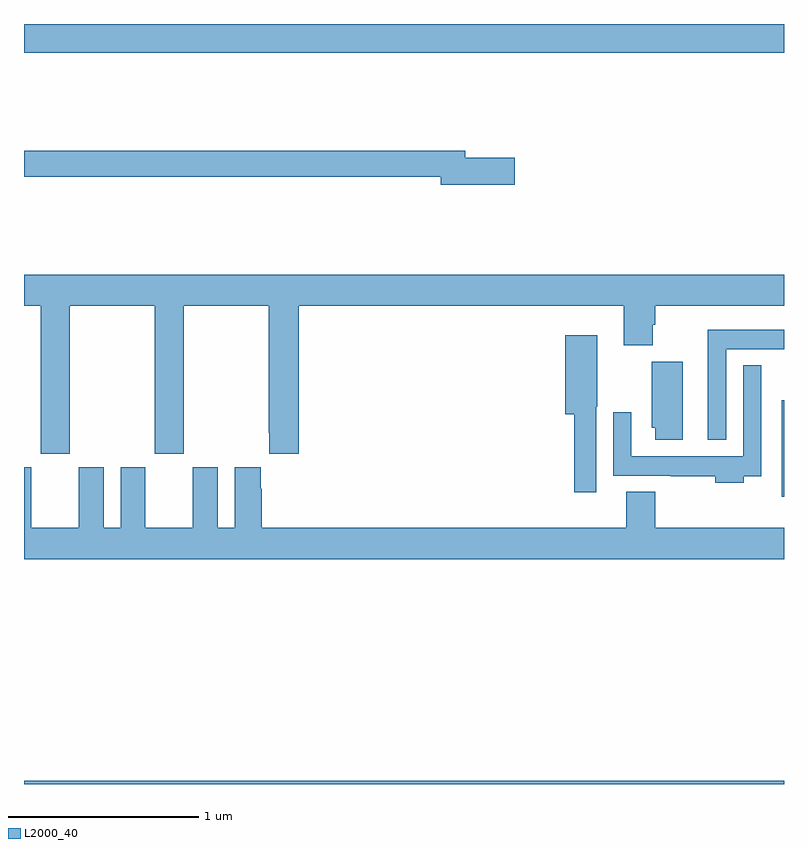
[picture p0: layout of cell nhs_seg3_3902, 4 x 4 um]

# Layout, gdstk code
import gdstk
lib = gdstk.Library(unit=1e-6, precision=1e-09)
def R(c, l, rs):  # rectangles x0, y0, x1, y1
    for r in rs: c.add(gdstk.rectangle(r[:2], r[2:], *l))
def P(c, l, *ps):  # polygons
    for p in ps: c.add(gdstk.Polygon(p, *l))
L2000_40 = (2000, 40)

nhs_seg3_3902 = lib.new_cell('nhs_seg3_3902')
R(nhs_seg3_3902, L2000_40, [(313,698.4,317,698.416), (316.988,699.912,317,700.42), (313,702.248,317,702.4)])
P(nhs_seg3_3902, L2000_40, [(315.583,701.696),(315.322,701.696),(315.322,701.732),(313,701.732),(313,701.596),(315.194,701.596),(315.194,701.554),(315.583,701.554)],
  [(313.242,700.916),(313.687,700.916),(313.687,700.137),(313.842,700.137),(313.842,700.916),(314.287,700.916),(314.287,700.249),(314.291,700.249),(314.291,700.137),(314.447,700.137),(314.447,700.916),(316.157,700.916),(316.157,700.708),(316.309,700.708),(316.309,700.817),(316.322,700.817),(316.322,700.916),(317,700.916),(317,701.08),(313,701.08),(313,700.916),(313.087,700.916),(313.087,700.137),(313.242,700.137)],
  [(316.695,700.688),(317,700.688),(317,700.792),(316.598,700.792),(316.598,700.211),(316.695,700.211)],
  [(316.011,700.386),(316.018,700.386),(316.018,700.762),(315.848,700.762),(315.848,700.346),(315.895,700.346),(315.895,699.936),(316.011,699.936)],
  [(316.468,700.623),(316.304,700.623),(316.304,700.275),(316.322,700.275),(316.322,700.212),(316.468,700.212)],
  [(316.789,700.02),(316.881,700.02),(316.881,700.603),(316.785,700.603),(316.785,700.126),(316.197,700.126),(316.197,700.357),(316.101,700.357),(316.101,700.022),(316.405,700.022),(316.405,700.02),(316.637,700.02),(316.637,699.986),(316.789,699.986)],
  [(317,699.748),(316.322,699.748),(316.322,699.937),(316.169,699.937),(316.169,699.748),(314.252,699.748),(314.252,699.953),(314.245,699.953),(314.245,700.066),(314.108,700.066),(314.108,699.748),(314.02,699.748),(314.02,700.066),(313.889,700.066),(313.889,699.748),(313.639,699.748),(313.639,700.066),(313.508,700.066),(313.508,699.748),(313.42,699.748),(313.42,700.066),(313.289,700.066),(313.289,699.748),(313.039,699.748),(313.039,700.066),(313,700.066),(313,699.584),(317,699.584)])

lib.write_gds('nhs_seg3_3902.gds')
